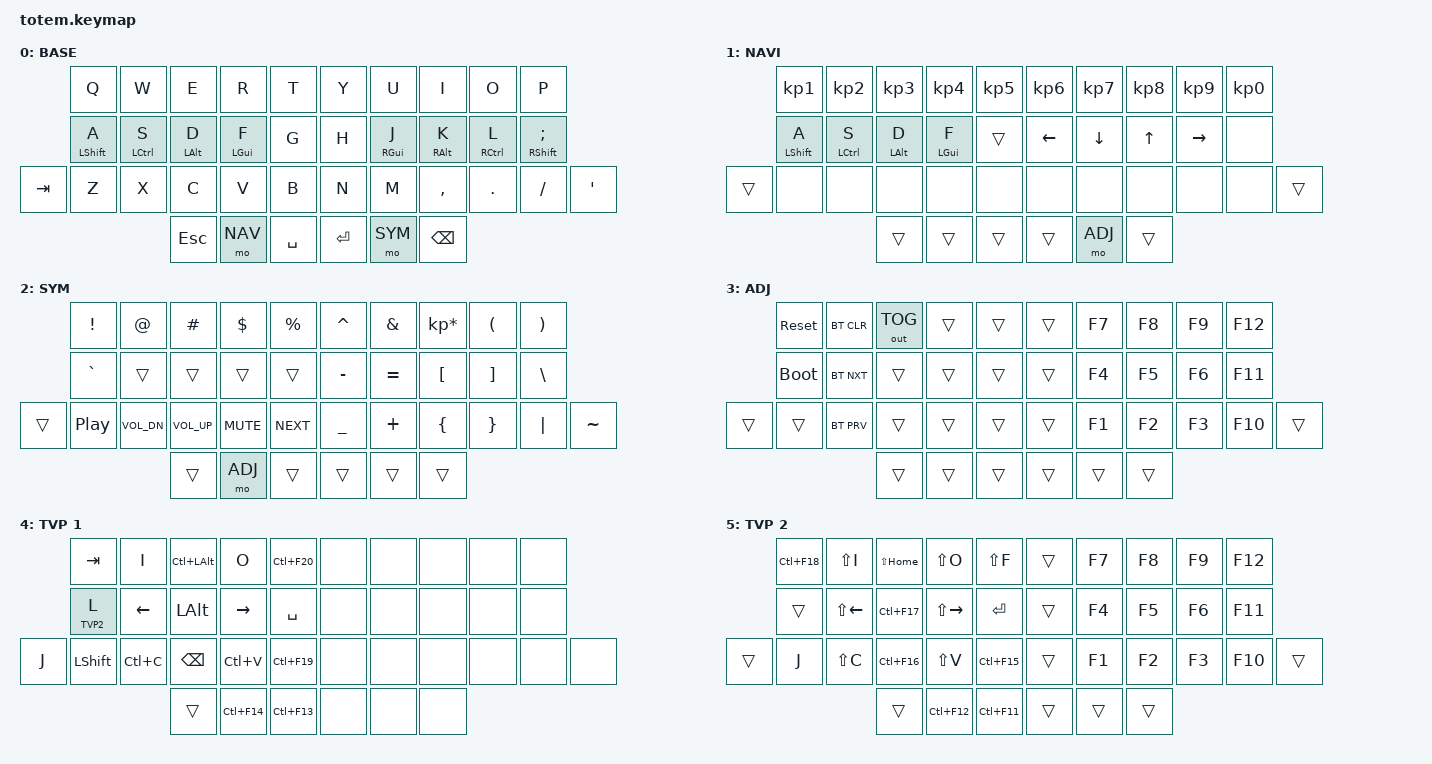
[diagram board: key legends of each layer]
//
//                                                        ▀▀▀▀▀     ▀▀▀▀▀          ▀▀█▀▀
//                                                        ▄▀▀▀▄  ▄  ▄▀▀▀▄  ▄  ▄▀▀▀▄  █  ▄▀▀▀▄
//                                                        █   █  █  █   █  █  █   █  █  █   █
//                                                         ▀▀▀   █   ▀▀▀   █   ▀▀▀   ▀   ▀▀▀
//                                                               █      ▄▄▄█▄▄▄    █   █
//                                                               ▀      █  █  █     █▄█
//                                                             ▀▀▀▀▀    █  █  █      ▀
//                                                                      ▀  ▀  ▀
//
// ▄▄▄▄▄▄▄▄▄▄▄▄▄▄▄▄▄▄▄▄▄▄▄▄▄▄▄▄▄▄▄▄▄▄▄▄▄▄▄▄▄▄▄▄▄▄▄▄▄▄▄▄▄▄▄▄▄▄▄▄▄▄▄▄▄▄▄▄▄▄▄▄▄▄▄▄▄▄▄▄▄▄▄▄▄▄▄▄▄▄▄▄▄▄▄▄▄▄▄▄▄▄▄▄▄▄▄▄▄▄▄▄▄▄▄▄▄▄▄▄▄▄▄▄▄▄▄▄▄▄▄▄▄▄▄▄▄▄▄▄▄▄▄▄▄▄▄▄▄


#include <behaviors.dtsi>
#include <dt-bindings/zmk/keys.h>
#include <dt-bindings/zmk/bt.h>
#include <dt-bindings/zmk/outputs.h>

#define BASE 0
#define NAV  1
#define SYM  2
#define ADJ  3
#define TVP1 4
#define TVP2 5

&mt {
  quick-tap-ms = <190>;
  global-quick-tap;
  flavor = "balanced";
  tapping-term-ms = <190>;
};

/ {
     combos {
            compatible = "zmk,combos";
            combo_esc {
                timeout-ms = <50>;
                key-positions = <0 1>;
                bindings = <&kp ESC>;
            };
            combo_tvp {
                timeout-ms = <100>;
                key-positions = <11 12 13>;
                bindings = <&tog TVP1>;
            };
    };


  keymap {
    compatible = "zmk,keymap";
// ▄▄▄▄▄▄▄▄▄▄▄▄▄▄▄▄▄▄▄▄▄▄▄▄▄▄▄▄▄▄▄▄▄▄▄▄▄▄▄▄▄▄▄▄▄▄▄▄▄▄▄▄▄▄▄▄▄▄▄▄▄▄▄▄▄▄▄▄▄▄▄▄▄▄▄▄▄▄▄▄▄▄▄▄▄▄▄▄▄▄▄▄▄▄▄▄▄▄▄▄▄▄▄▄▄▄▄▄▄▄▄▄▄▄▄▄▄▄▄▄▄▄▄▄▄▄▄▄▄▄▄▄▄▄▄▄▄▄▄▄▄▄▄▄▄▄▄▄▄

  base_layer {
    label= "BASE";
//             ┏━━━━━━━━━━━┳━━━━━━━━━━━┳━━━━━━━━━━━┳━━━━━━━━━━━┳━━━━━━━━━━━┓   ┏━━━━━━━━━━━┳━━━━━━━━━━━┳━━━━━━━━━━━┳━━━━━━━━━━━┳━━━━━━━━━━━┓
//             ┃     Q     ┃     W     ┃     E     ┃     R     ┃     T     ┃   ┃     Y     ┃     U     ┃     I     ┃     O     ┃     P     ┃
//             ┣━━━━━━━━━━━╋━━━━━━━━━━━╋━━━━━━━━━━━╋━━━━━━━━━━━╋━━━━━━━━━━━┫   ┣━━━━━━━━━━━╋━━━━━━━━━━━╋━━━━━━━━━━━╋━━━━━━━━━━━╋━━━━━━━━━━━┫
//             ┃     A     ┃     S     ┃     D     ┃     F     ┃     G     ┃   ┃     H     ┃     J     ┃     K     ┃     L     ┃     ;     ┃
// ┏━━━━━━━━━━━╋━━━━━━━━━━━╋━━━━━━━━━━━╋━━━━━━━━━━━╋━━━━━━━━━━━╋━━━━━━━━━━━┫   ┣━━━━━━━━━━━╋━━━━━━━━━━━╋━━━━━━━━━━━╋━━━━━━━━━━━╋━━━━━━━━━━━╋━━━━━━━━━━━┓
// ┃  TAB      ┃     Z     ┃     X     ┃     C     ┃     V     ┃     B     ┃   ┃     N     ┃     M     ┃     ,     ┃     .     ┃     /     ┃     '     ┃
// ┗━━━━━━━━━━━┻━━━━━━━━━━━┻━━━━━━━━━━━╋━━━━━━━━━━━╋━━━━━━━━━━━╋━━━━━━━━━━━┫   ┣━━━━━━━━━━━╋━━━━━━━━━━━╋━━━━━━━━━━━╋━━━━━━━━━━━┻━━━━━━━━━━━┻━━━━━━━━━━━┛
//                                     ┃    BSPC   ┃    NAV    ┃    SPC    ┃   ┃   ENTER   ┃    SYM    ┃   ESC     ┃
//                                     ┗━━━━━━━━━━━┻━━━━━━━━━━━┻━━━━━━━━━━━┛   ┗━━━━━━━━━━━┻━━━━━━━━━━━┻━━━━━━━━━━━┛
    bindings = <
                     &kp Q       &kp W       &kp E       &kp R       &kp T           &kp Y       &kp U           &kp I       &kp O       &kp P
                     &mt LSHFT A &mt LCTRL S &mt LALT D  &mt LGUI F  &kp G           &kp H       &mt RGUI J      &mt RALT K  &mt RCTRL L &mt RSHFT SEMI
         &kp TAB     &kp Z       &kp X       &kp C       &kp V       &kp B           &kp N       &kp M           &kp COMMA   &kp DOT     &kp FSLH    &kp SINGLE_QUOTE
                                             &kp ESC     &mo NAV     &kp SPACE       &kp RET     &mo SYM         &kp BSPC
     >;
  };

// ▄▄▄▄▄▄▄▄▄▄▄▄▄▄▄▄▄▄▄▄▄▄▄▄▄▄▄▄▄▄▄▄▄▄▄▄▄▄▄▄▄▄▄▄▄▄▄▄▄▄▄▄▄▄▄▄▄▄▄▄▄▄▄▄▄▄▄▄▄▄▄▄▄▄▄▄▄▄▄▄▄▄▄▄▄▄▄▄▄▄▄▄▄▄▄▄▄▄▄▄▄▄▄▄▄▄▄▄▄▄▄▄▄▄▄▄▄▄▄▄▄▄▄▄▄▄▄▄▄▄▄▄▄▄▄▄▄▄▄▄▄▄▄▄▄▄▄▄▄


  nav_layer {
    label= "NAVI";
    bindings = <
                  &kp KP_N1   &kp KP_N2   &kp KP_N3   &kp KP_N4   &kp KP_N5       &kp KP_N6   &kp KP_N7   &kp KP_N8   &kp KP_N9   &kp KP_N0
                  &mt LSHFT A &mt LCTRL S &mt LALT D  &mt LGUI F  &trans          &kp LEFT    &kp DOWN    &kp UP      &kp RIGHT   &none
      &trans      &none       &none       &none       &none       &none           &none       &none       &none       &none       &none     &trans
                                          &trans      &trans      &trans          &trans      &mo ADJ     &trans
    >;
  };

// ▄▄▄▄▄▄▄▄▄▄▄▄▄▄▄▄▄▄▄▄▄▄▄▄▄▄▄▄▄▄▄▄▄▄▄▄▄▄▄▄▄▄▄▄▄▄▄▄▄▄▄▄▄▄▄▄▄▄▄▄▄▄▄▄▄▄▄▄▄▄▄▄▄▄▄▄▄▄▄▄▄▄▄▄▄▄▄▄▄▄▄▄▄▄▄▄▄▄▄▄▄▄▄▄▄▄▄▄▄▄▄▄▄▄▄▄▄▄▄▄▄▄▄▄▄▄▄▄▄▄▄▄▄▄▄▄▄▄▄▄▄▄▄▄▄▄▄▄▄


                sim_layer {
// ┏━━━━━━━━━━━━━━━━━━━━━━━━━━━━━━━━━━━━━━━┓
label= "SYM"                               ;
// ┗━━━━━━━━━━━━━━━━━━━━━━━━━━━━━━━━━━━━━━━┛
//             ┏━━━━━━━━━━━┳━━━━━━━━━━━┳━━━━━━━━━━━┳━━━━━━━━━━━┳━━━━━━━━━━━┓   ┏━━━━━━━━━━━┳━━━━━━━━━━━┳━━━━━━━━━━━┳━━━━━━━━━━━┳━━━━━━━━━━━┓
//             ┃     !     ┃     "     ┃    £      ┃     $     ┃     %     ┃   ┃     ^     ┃     &     ┃     *     ┃     (     ┃     )     ┃
//             ┣━━━━━━━━━━━╋━━━━━━━━━━━╋━━━━━━━━━━━╋━━━━━━━━━━━╋━━━━━━━━━━━┫   ┣━━━━━━━━━━━╋━━━━━━━━━━━╋━━━━━━━━━━━╋━━━━━━━━━━━╋━━━━━━━━━━━┫
//             ┃     \     ┃           ┃           ┃           ┃           ┃   ┃     -     ┃     =     ┃     [     ┃     ]     ┃     #     ┃
// ┏━━━━━━━━━━━╋━━━━━━━━━━━╋━━━━━━━━━━━╋━━━━━━━━━━━╋━━━━━━━━━━━╋━━━━━━━━━━━┫   ┣━━━━━━━━━━━╋━━━━━━━━━━━╋━━━━━━━━━━━╋━━━━━━━━━━━╋━━━━━━━━━━━╋━━━━━━━━━━━┓
// ┃           ┃    PLAY   ┃   VOL_-   ┃  VOL_+    ┃    MUTE   ┃  P_NEXT   ┃   ┃     _     ┃     +     ┃     {     ┃     }     ┃     ~     ┃     |     ┃
// ┗━━━━━━━━━━━┻━━━━━━━━━━━┻━━━━━━━━━━━╋━━━━━━━━━━━╋━━━━━━━━━━━╋━━━━━━━━━━━┫   ┣━━━━━━━━━━━╋━━━━━━━━━━━╋━━━━━━━━━━━╋━━━━━━━━━━━┻━━━━━━━━━━━┻━━━━━━━━━━━┛
//                                     ┃           ┃    GIF    ┃    ADJ    ┃   ┃           ┃           ┃           ┃
//                                     ┗━━━━━━━━━━━┻━━━━━━━━━━━┻━━━━━━━━━━━┛   ┗━━━━━━━━━━━┻━━━━━━━━━━━┻━━━━━━━━━━━┛
 bindings = <
// ╷           ╷           ╷           ╷           ╷           ╷           ╷   ╷           ╷           ╷           ╷           ╷           ╷           ╷


                &kp EXCL    &kp AT                &kp POUND       &kp DLLR        &kp PRCNT       &kp CARET   &kp AMPS    &kp KP_ASTERISK   &kp LPAR      &kp RPAR
                &kp GRAVE   &trans                &trans          &trans          &trans          &kp MINUS   &kp EQUAL   &kp LBKT          &kp RBKT      &kp BSLH
    &trans      &kp C_PP    &kp C_VOL_DN          &kp C_VOL_UP    &kp C_MUTE      &kp C_NEXT      &kp UNDER   &kp PLUS    &kp LBRC          &kp RBRC      &kp PIPE   &kp TILDE
                                                  &trans          &mo ADJ         &trans          &trans      &trans      &trans
                        >;
                };

// ▄▄▄▄▄▄▄▄▄▄▄▄▄▄▄▄▄▄▄▄▄▄▄▄▄▄▄▄▄▄▄▄▄▄▄▄▄▄▄▄▄▄▄▄▄▄▄▄▄▄▄▄▄▄▄▄▄▄▄▄▄▄▄▄▄▄▄▄▄▄▄▄▄▄▄▄▄▄▄▄▄▄▄▄▄▄▄▄▄▄▄▄▄▄▄▄▄▄▄▄▄▄▄▄▄▄▄▄▄▄▄▄▄▄▄▄▄▄▄▄▄▄▄▄▄▄▄▄▄▄▄▄▄▄▄▄▄▄▄▄▄▄▄▄▄▄▄▄▄


                adjust_layer {
// ┏━━━━━━━━━━━━━━━━━━━━━━━━━━━━━━━━━━━━━━━┓
label= "ADJ"                               ;
// ┗━━━━━━━━━━━━━━━━━━━━━━━━━━━━━━━━━━━━━━━┛
//             ┏━━━━━━━━━━━┳━━━━━━━━━━━┳━━━━━━━━━━━┳━━━━━━━━━━━┳━━━━━━━━━━━┓   ┏━━━━━━━━━━━┳━━━━━━━━━━━┳━━━━━━━━━━━┳━━━━━━━━━━━┳━━━━━━━━━━━┓
//             ┃   RESET   ┃ BT CLEAR  ┃  OUT TOG  ┃           ┃           ┃   ┃           ┃    F7     ┃    F8     ┃    F9     ┃    F12    ┃
//             ┣━━━━━━━━━━━╋━━━━━━━━━━━╋━━━━━━━━━━━╋━━━━━━━━━━━╋━━━━━━━━━━━┫   ┣━━━━━━━━━━━╋━━━━━━━━━━━╋━━━━━━━━━━━╋━━━━━━━━━━━╋━━━━━━━━━━━┫
//             ┃ BOOTLOAD  ┃ BT NEXT   ┃           ┃           ┃           ┃   ┃           ┃    F4     ┃    F5     ┃    F6     ┃    F11    ┃
// ┏━━━━━━━━━━━╋━━━━━━━━━━━╋━━━━━━━━━━━╋━━━━━━━━━━━╋━━━━━━━━━━━╋━━━━━━━━━━━┫   ┣━━━━━━━━━━━╋━━━━━━━━━━━╋━━━━━━━━━━━╋━━━━━━━━━━━╋━━━━━━━━━━━╋━━━━━━━━━━━┓
// ┃           ┃           ┃ BT PREV   ┃           ┃           ┃           ┃   ┃           ┃    F1     ┃    F2     ┃    F3     ┃    F10    ┃           ┃
// ┗━━━━━━━━━━━┻━━━━━━━━━━━┻━━━━━━━━━━━╋━━━━━━━━━━━╋━━━━━━━━━━━╋━━━━━━━━━━━┫   ┣━━━━━━━━━━━╋━━━━━━━━━━━╋━━━━━━━━━━━╋━━━━━━━━━━━┻━━━━━━━━━━━┻━━━━━━━━━━━┛
//                                     ┃           ┃           ┃           ┃   ┃           ┃           ┃           ┃
//                                     ┗━━━━━━━━━━━┻━━━━━━━━━━━┻━━━━━━━━━━━┛   ┗━━━━━━━━━━━┻━━━━━━━━━━━┻━━━━━━━━━━━┛
 bindings = <
// ╷           ╷           ╷           ╷           ╷           ╷           ╷   ╷           ╷           ╷           ╷           ╷           ╷           ╷

                &sys_reset  &bt BT_CLR &out OUT_TOG &trans      &trans          &trans      &kp F7      &kp F8      &kp F9      &kp F12
                &bootloader &bt BT_NXT  &trans      &trans      &trans          &trans      &kp F4      &kp F5      &kp F6      &kp F11
    &trans      &trans      &bt BT_PRV  &trans      &trans      &trans          &trans      &kp F1      &kp F2      &kp F3      &kp F10     &trans
                                        &trans      &trans      &trans          &trans      &trans      &trans
                        >;
                };

// ▄▄▄▄▄▄▄▄▄▄▄▄▄▄▄▄▄▄▄▄▄▄▄▄▄▄▄▄▄▄▄▄▄▄▄▄▄▄▄▄▄▄▄▄▄▄▄▄▄▄▄▄▄▄▄▄▄▄▄▄▄▄▄▄▄▄▄▄▄▄▄▄▄▄▄▄▄▄▄▄▄▄▄▄▄▄▄▄▄▄▄▄▄▄▄▄▄▄▄▄▄▄▄▄▄▄▄▄▄▄▄▄▄▄▄▄▄▄▄▄▄▄▄▄▄▄▄▄▄▄▄▄▄▄▄▄▄▄▄▄▄▄▄▄▄▄▄▄▄


                tvp1_layer {
// ┏━━━━━━━━━━━━━━━━━━━━━━━━━━━━━━━━━━━━━━━┓
label= "TVP 1"                             ;
// ┗━━━━━━━━━━━━━━━━━━━━━━━━━━━━━━━━━━━━━━━┛
//             ┏━━━━━━━━━━━┳━━━━━━━━━━━┳━━━━━━━━━━━┳━━━━━━━━━━━┳━━━━━━━━━━━┓   ┏━━━━━━━━━━━┳━━━━━━━━━━━┳━━━━━━━━━━━┳━━━━━━━━━━━┳━━━━━━━━━━━┓
//             ┃ NEXT FILE ┃ MARK IN   ┃ ROTATE    ┃ MARK OUT  ┃ SHOW SNAP ┃   ┃           ┃           ┃           ┃           ┃           ┃
//             ┣━━━━━━━━━━━╋━━━━━━━━━━━╋━━━━━━━━━━━╋━━━━━━━━━━━╋━━━━━━━━━━━┫   ┣━━━━━━━━━━━╋━━━━━━━━━━━╋━━━━━━━━━━━╋━━━━━━━━━━━╋━━━━━━━━━━━┫
//             ┃ TVP II    ┃ LEFT      ┃ PAN       ┃ RIGHT     ┃ PLAY/FLIP ┃   ┃           ┃           ┃           ┃           ┃           ┃
// ┏━━━━━━━━━━━╋━━━━━━━━━━━╋━━━━━━━━━━━╋━━━━━━━━━━━╋━━━━━━━━━━━╋━━━━━━━━━━━┫   ┣━━━━━━━━━━━╋━━━━━━━━━━━╋━━━━━━━━━━━╋━━━━━━━━━━━╋━━━━━━━━━━━╋━━━━━━━━━━━┓
// ┃ FULLSCR   ┃ SHIFT     ┃ COPY      ┃ DELETE    ┃ PASTE     ┃ IMG MARK  ┃   ┃           ┃           ┃           ┃           ┃           ┃           ┃
// ┗━━━━━━━━━━━┻━━━━━━━━━━━┻━━━━━━━━━━━╋━━━━━━━━━━━╋━━━━━━━━━━━╋━━━━━━━━━━━┫   ┣━━━━━━━━━━━╋━━━━━━━━━━━╋━━━━━━━━━━━╋━━━━━━━━━━━┻━━━━━━━━━━━┻━━━━━━━━━━━┛
//                                     ┃           ┃ UNDO/SAVE ┃  SEL/MOV  ┃   ┃           ┃           ┃           ┃
//                                     ┗━━━━━━━━━━━┻━━━━━━━━━━━┻━━━━━━━━━━━┛   ┗━━━━━━━━━━━┻━━━━━━━━━━━┻━━━━━━━━━━━┛
 bindings = <
// ╷           ╷           ╷           ╷           ╷           ╷           ╷   ╷           ╷           ╷           ╷           ╷           ╷           ╷

                &kp TAB     &kp I       &kp LC(LALT) &kp O      &kp LC(F20)     &none       &none       &none       &none       &none
                &lt TVP2 L  &kp LEFT    &kp LALT    &kp RIGHT   &kp SPACE       &none       &none       &none       &none       &none
    &kp J       &kp LSHFT   &kp LC(C)   &kp BSPC    &kp LC(V)   &kp LC(F19)     &none       &none       &none       &none       &none       &none
                                        &trans      &kp LC(F14) &kp LC(F13)     &none       &none       &none
                        >;
                };

// ▄▄▄▄▄▄▄▄▄▄▄▄▄▄▄▄▄▄▄▄▄▄▄▄▄▄▄▄▄▄▄▄▄▄▄▄▄▄▄▄▄▄▄▄▄▄▄▄▄▄▄▄▄▄▄▄▄▄▄▄▄▄▄▄▄▄▄▄▄▄▄▄▄▄▄▄▄▄▄▄▄▄▄▄▄▄▄▄▄▄▄▄▄▄▄▄▄▄▄▄▄▄▄▄▄▄▄▄▄▄▄▄▄▄▄▄▄▄▄▄▄▄▄▄▄▄▄▄▄▄▄▄▄▄▄▄▄▄▄▄▄▄▄▄▄▄▄▄▄


                tvp2_layer {
// ┏━━━━━━━━━━━━━━━━━━━━━━━━━━━━━━━━━━━━━━━┓
label= "TVP 2"                             ;
// ┗━━━━━━━━━━━━━━━━━━━━━━━━━━━━━━━━━━━━━━━┛
//             ┏━━━━━━━━━━━┳━━━━━━━━━━━┳━━━━━━━━━━━┳━━━━━━━━━━━┳━━━━━━━━━━━┓   ┏━━━━━━━━━━━┳━━━━━━━━━━━┳━━━━━━━━━━━┳━━━━━━━━━━━┳━━━━━━━━━━━┓
//             ┃ SOLO      ┃ TOGGLE IN ┃ RESET ROT ┃ TOGGLE OUT┃ TAKE SNAP ┃   ┃           ┃           ┃           ┃           ┃           ┃
//             ┣━━━━━━━━━━━╋━━━━━━━━━━━╋━━━━━━━━━━━╋━━━━━━━━━━━╋━━━━━━━━━━━┫   ┣━━━━━━━━━━━╋━━━━━━━━━━━╋━━━━━━━━━━━╋━━━━━━━━━━━╋━━━━━━━━━━━┫
//             ┃ ---       ┃ LAST KEY  ┃ NEW KEY   ┃ NEXT KEY  ┃ ENTER     ┃   ┃           ┃           ┃           ┃           ┃           ┃
// ┏━━━━━━━━━━━╋━━━━━━━━━━━╋━━━━━━━━━━━╋━━━━━━━━━━━╋━━━━━━━━━━━╋━━━━━━━━━━━┫   ┣━━━━━━━━━━━╋━━━━━━━━━━━╋━━━━━━━━━━━╋━━━━━━━━━━━╋━━━━━━━━━━━╋━━━━━━━━━━━┓
// ┃           ┃ FULLSCR   ┃ CPY2BRUSH ┃ DEL HEAD  ┃ PSTinPLACE┃ BOOK MARK ┃   ┃           ┃           ┃           ┃           ┃           ┃           ┃
// ┗━━━━━━━━━━━┻━━━━━━━━━━━┻━━━━━━━━━━━╋━━━━━━━━━━━╋━━━━━━━━━━━╋━━━━━━━━━━━┫   ┣━━━━━━━━━━━╋━━━━━━━━━━━╋━━━━━━━━━━━╋━━━━━━━━━━━┻━━━━━━━━━━━┻━━━━━━━━━━━┛
//                                     ┃           ┃ REDO/SAV1 ┃TRANS/WARP ┃   ┃           ┃           ┃           ┃
//                                     ┗━━━━━━━━━━━┻━━━━━━━━━━━┻━━━━━━━━━━━┛   ┗━━━━━━━━━━━┻━━━━━━━━━━━┻━━━━━━━━━━━┛
 bindings = <
// ╷           ╷           ╷           ╷           ╷           ╷           ╷   ╷           ╷           ╷           ╷           ╷           ╷           ╷

                &kp LC(F18) &kp LS(I)  &kp LS(HOME) &kp LS(O)   &kp LS(F)       &trans      &kp F7      &kp F8      &kp F9      &kp F12
                &trans      &kp LS(LEFT) &kp LC(F17) &kp LS(RIGHT) &kp RET      &trans      &kp F4      &kp F5      &kp F6      &kp F11
    &trans      &kp J       &kp LS(C)   &kp LC(F16) &kp LS(V)   &kp LC(F15)     &trans      &kp F1      &kp F2      &kp F3      &kp F10     &trans
                                        &trans      &kp LC(F12) &kp LC(F11)     &trans      &trans      &trans
                        >;
                };
        };
};
